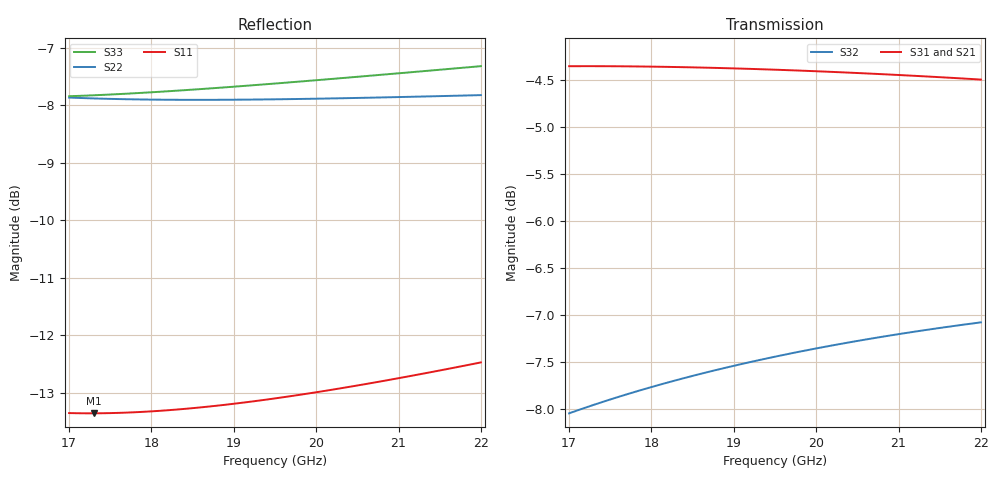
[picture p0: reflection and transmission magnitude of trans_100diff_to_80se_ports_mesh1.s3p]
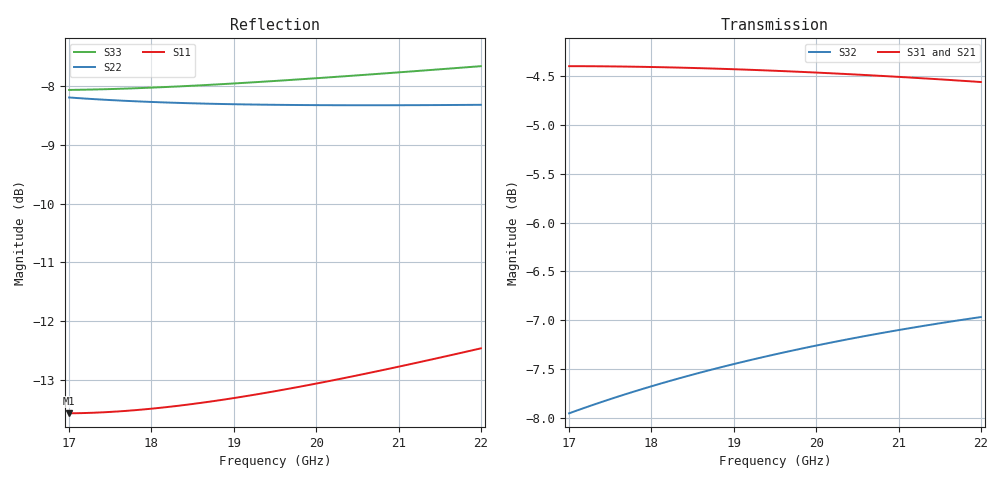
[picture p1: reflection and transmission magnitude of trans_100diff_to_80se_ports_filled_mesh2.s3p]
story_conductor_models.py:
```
#!/usr/bin/env python
"""Plot and numbers for README.md section "Conductor model": surface impedance (the mesh study above) vs. conductors meshed as
volumes: settings['conductor_model'] = 'solve_inside' and 'solve_inside_skin'.

Writes results/plots/story_conductor_models.png (insertion loss and input match vs. frequency) and prints the numbers
quoted in README.md. Reference: 'solve_inside_skin', 1 um mesh. DOF from the Palace output of each run.
"""
import os
import numpy as np
import matplotlib
matplotlib.use("Agg")
import matplotlib.pyplot as plt

import story_plots as S

BLUE = "#2a78d6"
ORANGE = "#eb6834"
AQUA = "#1baf7a"
RUNS = [  # label, Touchstone file, DOF, color, line style
    ("surface impedance, 1 µm", "trans_100diff_to_80se_ports_mesh1.s3p", 1951380, BLUE, "-"),
    ("solve_inside, 2 µm", "trans_100diff_to_80se_ports_filled_mesh2.s3p", 1150620, ORANGE, "--"),
    ("solve_inside_skin, 2 µm", "trans_100diff_to_80se_ports_skin_mesh2.s3p", 1657992, AQUA, "--"),
    ("solve_inside_skin, 1 µm", "trans_100diff_to_80se_ports_skin_mesh1.s3p", 3629376, S.INK, "-"),
]
TABLE = RUNS[-1:] + [("solve_inside_skin, 2 µm", "trans_100diff_to_80se_ports_skin_mesh2.s3p", 1657992, None, None),
                     ("solve_inside_skin, 3 µm", "trans_100diff_to_80se_ports_skin_mesh3.s3p", 1143524, None, None),
                     ("solve_inside, 2 µm", "trans_100diff_to_80se_ports_filled_mesh2.s3p", 1150620, None, None),
                     ("surface impedance, 1 µm", "trans_100diff_to_80se_ports_mesh1.s3p", 1951380, None, None),
                     ("surface impedance, 2 µm", "trans_100diff_to_80se_ports_mesh2.s3p", 948860, None, None)]
REFERENCE = "trans_100diff_to_80se_ports_skin_mesh1.s3p"


def plot():
    fig, axes = plt.subplots(1, 2, figsize=(10, 3.9), sharex=True)
    for label, fname, _, color, ls in RUNS:
        ntw = S.load(fname)
        m = S.merits(ntw)
        axes[0].plot(ntw.f / 1e9, m["IL"], color=color, linestyle=ls, linewidth=2, label=label)
        axes[1].plot(ntw.f / 1e9, m["Sss11"], color=color, linestyle=ls, linewidth=2, label=label)
    for ax, title in zip(axes, ("Insertion loss (dB)", "Input match |Sss11| (dB)")):
        S.style(ax)
        ax.set_title(title, loc="left", fontsize=11, color=S.INK)
        ax.set_xlabel("Frequency (GHz)", color=S.INK2)
    handles, labels = axes[0].get_legend_handles_labels()
    fig.legend(handles, labels, loc="upper center", ncol=3, frameon=False, fontsize=9)
    fig.tight_layout(rect=(0, 0, 1, 0.84))
    out = os.path.join(S.PLOT_DIR, "story_conductor_models.png")
    fig.savefig(out, dpi=130, facecolor="white")
    plt.close(fig)
    print("wrote", out)


def numbers():
    ref = S.merits(S.load(REFERENCE))
    print(f"\n17-22 GHz, relative to {REFERENCE}")
    print(f"{'model':30s} {'DOF':>10s} {'IL min..max':>12s} {'dIL max':>8s} {'Sss11 max':>9s} {'null':>6s} {'Sdd22 max':>9s} {'|ph| max':>8s}")
    for label, fname, dof, _, _ in TABLE:
        ntw = S.load(fname)
        m = S.merits(ntw)
        dil = m["IL"] - ref["IL"]
        print(f"{label:30s} {dof:10,d} {m['IL'].min():5.2f}..{m['IL'].max():5.2f} {dil[np.abs(dil).argmax()]:+8.2f} "
              f"{m['Sss11'].max():9.1f} {ntw.f[m['Sss11'].argmin()] / 1e9:5.1f}G {m['Sdd22'].max():9.1f} "
              f"{np.abs(m['phase']).max():8.2f}")


if __name__ == "__main__":
    plot()
    numbers()
```
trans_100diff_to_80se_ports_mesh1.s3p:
#  GHZ S DB R 50.0
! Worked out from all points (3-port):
!   51 points, 17 GHz to 22 GHz, reference 50 ohm
!   strongest paths, dB at 17 GHz, 18.2 GHz, 19.5 GHz, 20.8 GHz, 22 GHz:
!     S31: -4.4, -4.4, -4.4, -4.4, -4.5
!     S21: -4.5, -4.4, -4.4, -4.4, -4.4
!     S32: -8.0, -7.7, -7.4, -7.2, -7.1
!   lowest |S11| = -13.4 dB at 17.3 GHz (marker M1), VSWR 1.55, Z = 76.1 + j7.53 ohm
!   |S11| at or under -10 dB: start of sweep to end of sweep
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17  -13.35 16.5  -4.49 -171.8  -4.35 7.6
    -4.49 -171.8  -7.86 96.3  -8.04 73.7
    -4.35 7.6  -8.04 73.7  -7.84 93.1
17.3  -13.35 12.7  -4.48 -174.0  -4.35 5.5
      -4.48 -174.0  -7.88 93.4  -7.95 71.5
      -4.35 5.5  -7.95 71.5  -7.82 90.2
18.4  -13.28 -0.3  -4.43 178.3  -4.36 -1.8
      -4.43 178.3  -7.90 83.5  -7.67 64.3
      -4.36 -1.8  -7.67 64.3  -7.73 80.7
19.5  -13.09 -11.8  -4.41 171.2  -4.39 -8.7
      -4.41 171.2  -7.89 75.0  -7.44 57.7
      -4.39 -8.7  -7.44 57.7  -7.62 72.5
22  -12.47 -33.5  -4.40 156.1  -4.49 -22.9
    -4.40 156.1  -7.82 59.3  -7.07 44.4
    -4.49 -22.9  -7.07 44.4  -7.32 57.4
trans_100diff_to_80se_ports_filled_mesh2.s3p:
#  GHZ S DB R 50.0
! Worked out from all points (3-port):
!   51 points, 17 GHz to 22 GHz, reference 50 ohm
!   strongest paths, dB at 17 GHz, 18.2 GHz, 19.5 GHz, 20.8 GHz, 22 GHz:
!     S31: -4.4, -4.4, -4.4, -4.5, -4.6
!     S21: -4.6, -4.5, -4.5, -4.5, -4.5
!     S32: -8.0, -7.6, -7.3, -7.1, -7.0
!   lowest |S11| = -13.6 dB at 17 GHz (marker M1), VSWR 1.53, Z = 75 + j8.09 ohm
!   |S11| at or under -10 dB: start of sweep to end of sweep
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17  -13.57 14.2  -4.57 -173.7  -4.40 6.0
    -4.57 -173.7  -8.19 95.1  -7.95 72.9
    -4.40 6.0  -7.95 72.9  -8.06 92.1
18.1  -13.48 0.6  -4.53 178.6  -4.41 -1.3
      -4.53 178.6  -8.27 85.0  -7.65 65.7
      -4.41 -1.3  -7.65 65.7  -8.02 82.2
19.3  -13.24 -12.3  -4.50 170.6  -4.44 -8.8
      -4.50 170.6  -8.31 75.4  -7.39 58.5
      -4.44 -8.8  -7.39 58.5  -7.93 72.9
20.6  -12.90 -24.6  -4.50 162.6  -4.49 -16.4
      -4.50 162.6  -8.32 66.5  -7.16 51.5
      -4.49 -16.4  -7.16 51.5  -7.80 64.3
22  -12.47 -36.1  -4.50 154.4  -4.56 -24.2
    -4.50 154.4  -8.32 58.3  -6.97 44.5
    -4.56 -24.2  -6.97 44.5  -7.66 56.3
